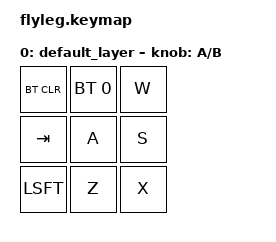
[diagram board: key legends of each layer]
#include <behaviors.dtsi>
#include <dt-bindings/zmk/keys.h>
#include <dt-bindings/zmk/bt.h>

/ {
	keymap {
		compatible = "zmk,keymap";

		default_layer {
			bindings = <
	&bt BT_CLR &bt BT_SEL 0 &kp W
	&kp TAB    &kp A      &kp S
	&kp LSFT   &kp Z      &kp X
			>;
			sensor-bindings = <&inc_dec_kp A B>;
		};
	};
};
